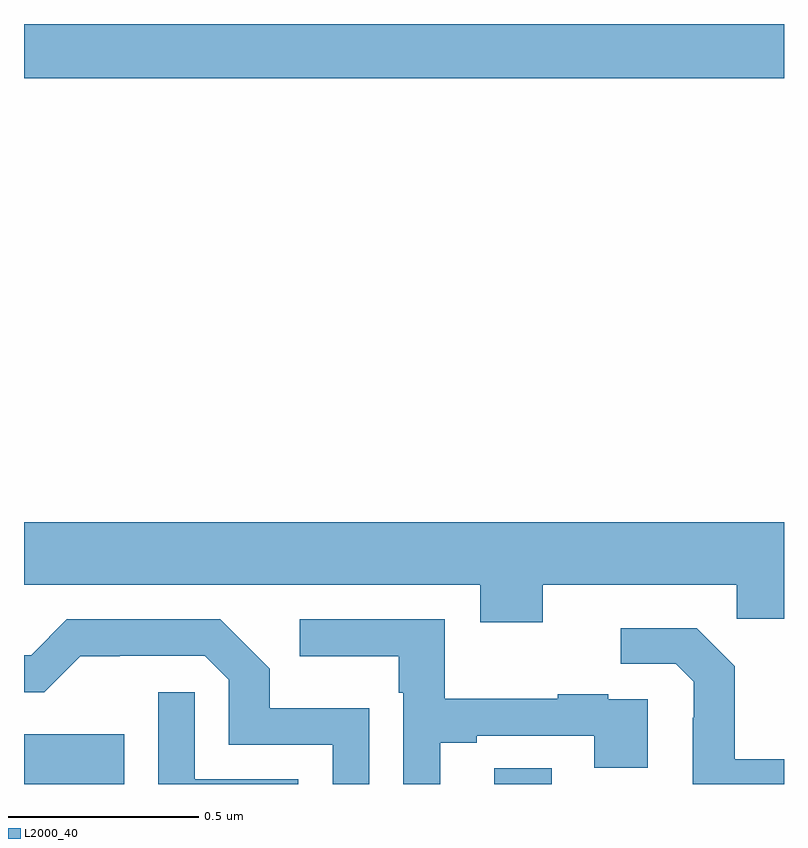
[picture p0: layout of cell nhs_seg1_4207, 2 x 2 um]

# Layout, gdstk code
import gdstk
lib = gdstk.Library(unit=1e-6, precision=1e-09)
def R(c, l, rs):  # rectangles x0, y0, x1, y1
    for r in rs: c.add(gdstk.rectangle(r[:2], r[2:], *l))
def P(c, l, *ps):  # polygons
    for p in ps: c.add(gdstk.Polygon(p, *l))
L2000_40 = (2000, 40)

nhs_seg1_4207 = lib.new_cell('nhs_seg1_4207')
R(nhs_seg1_4207, L2000_40, [(163,559.199,163.264,559.33), (164.237,559.199,164.389,559.241), (163,561.056,165,561.199)])
P(nhs_seg1_4207, L2000_40, [(164.365,559.724),(164.875,559.724),(164.875,559.634),(165,559.634),(165,559.888),(163,559.888),(163,559.724),(164.201,559.724),(164.201,559.625),(164.365,559.625)],
  [(164.095,559.308),(164.191,559.308),(164.191,559.326),(164.501,559.326),(164.501,559.242),(164.641,559.242),(164.641,559.422),(164.537,559.422),(164.537,559.435),(164.405,559.435),(164.405,559.424),(164.107,559.424),(164.107,559.632),(163.725,559.632),(163.725,559.535),(163.986,559.535),(163.986,559.439),(163.998,559.439),(163.998,559.199),(164.095,559.199)],
  [(163.908,559.399),(163.647,559.399),(163.647,559.502),(163.516,559.632),(163.113,559.632),(163.019,559.538),(163,559.538),(163,559.44),(163.053,559.44),(163.148,559.535),(163.252,559.535),(163.252,559.536),(163.476,559.536),(163.539,559.473),(163.539,559.302),(163.812,559.302),(163.812,559.199),(163.908,559.199)],
  [(165,559.264),(164.871,559.264),(164.871,559.509),(164.771,559.609),(164.571,559.609),(164.571,559.515),(164.715,559.515),(164.762,559.468),(164.762,559.373),(164.76,559.373),(164.76,559.199),(165,559.199)],
  [(163.722,559.212),(163.449,559.212),(163.449,559.441),(163.353,559.441),(163.353,559.199),(163.722,559.199)])

lib.write_gds('nhs_seg1_4207.gds')
